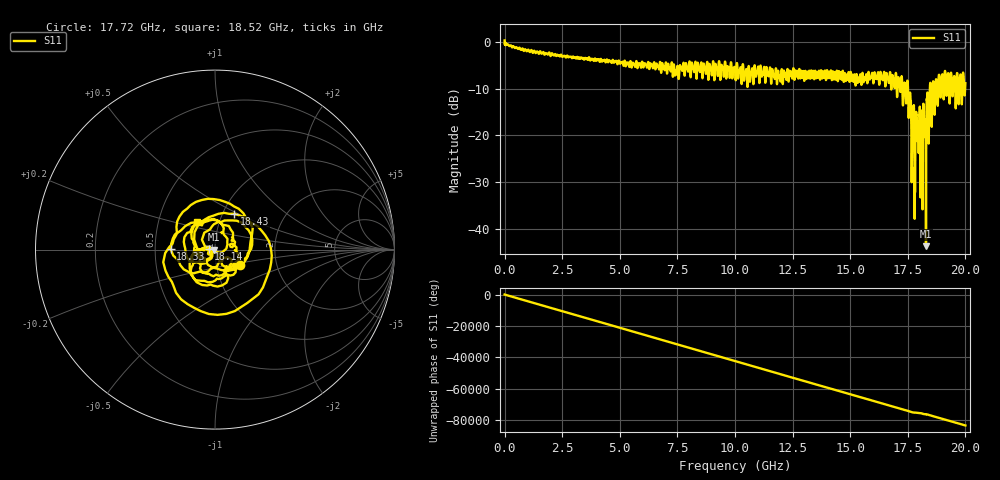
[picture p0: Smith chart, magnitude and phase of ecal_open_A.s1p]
! MS46122B
! 2250307/22442219
! 6/12/2025 7:35:00 AM
! C:\USERS\SPARKY\DOCUMENTS\VNA_DATA\JUNE12_2025\3.1 KELVIN\ECAL-OPEN.S1P
! CHANNEL.1
! TR.MEASUREMENT
! RAW.DATA
# GHZ S RI R 50.0
! FREQ.GHZ  S11RE  S11IM
!; PortSelection: Port_1
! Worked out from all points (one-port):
!   10001 points, 1 MHz to 20 GHz, reference 50 ohm
!   lowest |S11| = -43.6 dB at 18.29 GHz (marker M1), VSWR 1.01, Z = 49.4 - j0.0986 ohm
!   |S11| at or under -10 dB: 17.51 GHz to 18.45 GHz (945.6 MHz wide, 5.26 % of centre); 18.49097 GHz to 18.57221 GHz (81.25 MHz wide, 0.438 % of centre); 18.62853 GHz to 18.69482 GHz (66.29 MHz wide, 0.355 % of centre) (the widest 3 of 18)
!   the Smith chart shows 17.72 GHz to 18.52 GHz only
!   S11 on the Smith chart (normalised r, x): 17.72 GHz: 1.30, -0.23; 18.14 GHz: 0.93, +0.00; 18.33 GHz: 0.60, +0.00; 18.43 GHz: 1.13, +0.48; 18.52 GHz: 0.78, +0.25
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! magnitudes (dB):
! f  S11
! 1 MHz  0.3
! 2.501 GHz  -3.2
! 5.001 GHz  -4.6
! 7.501 GHz  -5.2
! 10 GHz  -5.9
! 10.47 GHz  -6.4
! 12.5 GHz  -7.4
! 15 GHz  -7.1
! 16.65 GHz  -8.2
! 17.16 GHz  -10.1
! 17.5 GHz  -9.2
! 17.55 GHz  -14.6
! 17.61 GHz  -11.3
! 17.68 GHz  -25.3
! 17.72 GHz  -15.8
! 17.88 GHz  -16.7
! 17.94 GHz  -18.8
! 18.14 GHz  -29.2
! 18.21 GHz  -17.5
! 18.29 GHz  -43.6
! 18.33 GHz  -12.2
! 18.4 GHz  -20.5
! 18.43 GHz  -12.9
! 18.48 GHz  -8.8
! 18.52 GHz  -14.8
! 19.05 GHz  -12.1
! 19.65 GHz  -6.8
! 20 GHz  -8.9
